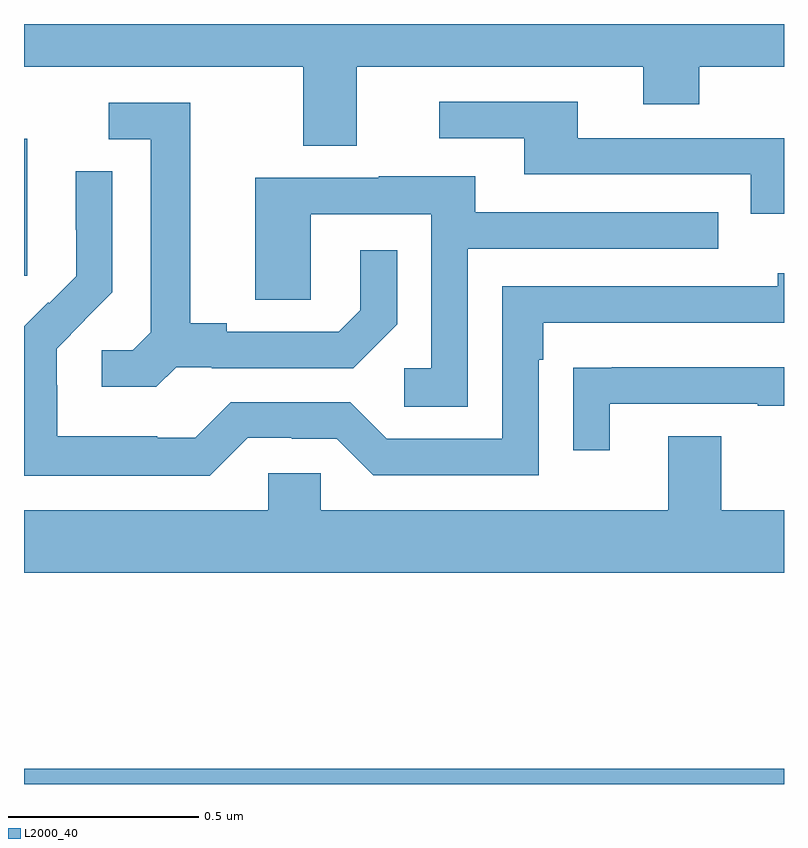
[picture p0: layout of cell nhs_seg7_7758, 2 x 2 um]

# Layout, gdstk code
import gdstk
lib = gdstk.Library(unit=1e-6, precision=1e-09)
def R(c, l, rs):  # rectangles x0, y0, x1, y1
    for r in rs: c.add(gdstk.rectangle(r[:2], r[2:], *l))
def P(c, l, *ps):  # polygons
    for p in ps: c.add(gdstk.Polygon(p, *l))
L2000_40 = (2000, 40)

nhs_seg7_7758 = lib.new_cell('nhs_seg7_7758')
R(nhs_seg7_7758, L2000_40, [(215,1060,217,1060.04), (215,1061.337,215.008,1061.698)])
P(nhs_seg7_7758, L2000_40, [(215.875,1061.888),(216.629,1061.888),(216.629,1061.789),(216.777,1061.789),(216.777,1061.888),(217,1061.888),(217,1062),(215,1062),(215,1061.888),(215.735,1061.888),(215.735,1061.68),(215.875,1061.68)],
  [(217,1061.7),(216.457,1061.7),(216.457,1061.796),(216.093,1061.796),(216.093,1061.7),(216.317,1061.7),(216.317,1061.604),(216.912,1061.604),(216.912,1061.501),(217,1061.501)],
  [(215.4,1061.097),(215.494,1061.097),(215.494,1061.094),(215.866,1061.094),(215.982,1061.21),(215.982,1061.404),(215.885,1061.404),(215.885,1061.247),(215.828,1061.19),(215.533,1061.19),(215.533,1061.213),(215.437,1061.213),(215.437,1061.793),(215.223,1061.793),(215.223,1061.697),(215.333,1061.697),(215.333,1061.189),(215.286,1061.142),(215.205,1061.142),(215.205,1061.045),(215.348,1061.045)],
  [(215.589,1060.911),(215.705,1060.911),(215.705,1060.908),(215.823,1060.908),(215.919,1060.812),(216.354,1060.812),(216.354,1061.117),(216.367,1061.117),(216.367,1061.214),(217,1061.214),(217,1061.344),(216.983,1061.344),(216.983,1061.31),(216.258,1061.31),(216.258,1060.908),(215.955,1060.908),(215.859,1061.004),(215.544,1061.004),(215.451,1060.911),(215.351,1060.911),(215.351,1060.915),(215.088,1060.915),(215.088,1061.049),(215.086,1061.049),(215.086,1061.146),(215.16,1061.22),(215.159,1061.221),(215.232,1061.294),(215.232,1061.612),(215.136,1061.612),(215.136,1061.458),(215.138,1061.458),(215.138,1061.336),(215.067,1061.265),(215.064,1061.268),(215,1061.204),(215,1060.811),(215.489,1060.811)],
  [(216.168,1061.409),(216.827,1061.409),(216.827,1061.505),(216.187,1061.505),(216.187,1061.599),(215.933,1061.599),(215.933,1061.595),(215.609,1061.595),(215.609,1061.275),(215.754,1061.275),(215.754,1061.499),(216.072,1061.499),(216.072,1061.094),(216,1061.094),(216,1060.993),(216.168,1060.993)],
  [(216.541,1061.001),(216.931,1061.001),(216.931,1060.996),(217,1060.996),(217,1061.097),(216.547,1061.097),(216.547,1061.096),(216.445,1061.096),(216.445,1060.878),(216.541,1060.878)],
  [(217,1060.72),(216.835,1060.72),(216.835,1060.915),(216.695,1060.915),(216.695,1060.72),(215.781,1060.72),(215.781,1060.818),(215.643,1060.818),(215.643,1060.72),(215,1060.72),(215,1060.556),(217,1060.556)])

lib.write_gds('nhs_seg7_7758.gds')
